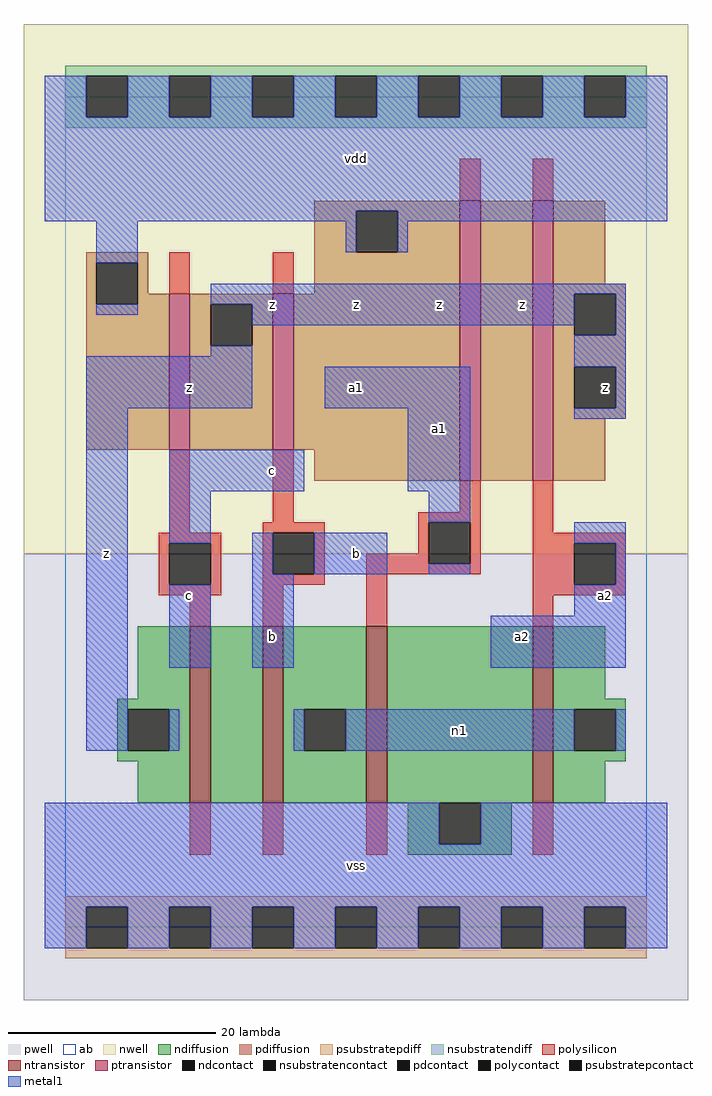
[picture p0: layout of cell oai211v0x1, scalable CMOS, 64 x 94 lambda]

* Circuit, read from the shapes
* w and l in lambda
.subckt oai211v0x1 a1 a2 b c n1 vdd vss z
M1 n2 c z vss nfet w=17 l=2
M2 n1 b n2 vss nfet w=17 l=2
M3 vss a1 n1 vss nfet w=17 l=2
M4 n1 a2 vss vss nfet w=17 l=2
M5 z c vdd vdd pfet w=15 l=2
M6 vdd b z vdd pfet w=15 l=2
M7 n3 a1 vdd vdd pfet w=27 l=2
M8 z a2 n3 vdd pfet w=27 l=2
.ends

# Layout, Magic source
magic
tech scmos
<< ab >>
rect 0 0 56 80
<< pwell >>
rect -4 -7 60 36
<< nwell >>
rect -4 36 60 87
<< polysilicon >>
rect 38 70 40 74
rect 45 70 47 74
rect 10 61 12 65
rect 20 61 22 65
rect 10 38 12 46
rect 20 39 22 46
rect 38 40 40 43
rect 34 39 40 40
rect 19 38 25 39
rect 9 37 15 38
rect 9 33 10 37
rect 14 33 15 37
rect 9 32 15 33
rect 19 34 20 38
rect 24 34 25 38
rect 34 36 35 39
rect 19 33 25 34
rect 29 35 35 36
rect 39 35 40 39
rect 29 34 40 35
rect 45 38 47 43
rect 45 37 54 38
rect 12 29 14 32
rect 19 29 21 33
rect 29 29 31 34
rect 45 33 49 37
rect 53 33 54 37
rect 45 32 54 33
rect 45 29 47 32
rect 12 7 14 12
rect 19 7 21 12
rect 29 7 31 12
rect 45 7 47 12
<< ndiffusion >>
rect 7 22 12 29
rect 5 21 12 22
rect 5 17 6 21
rect 10 17 12 21
rect 5 16 12 17
rect 7 12 12 16
rect 14 12 19 29
rect 21 21 29 29
rect 21 17 23 21
rect 27 17 29 21
rect 21 12 29 17
rect 31 12 45 29
rect 47 22 52 29
rect 47 21 54 22
rect 47 17 49 21
rect 53 17 54 21
rect 47 16 54 17
rect 47 12 52 16
rect 33 8 36 12
rect 40 8 43 12
rect 33 7 43 8
<< pdiffusion >>
rect 24 69 38 70
rect 24 65 28 69
rect 32 65 38 69
rect 2 64 8 65
rect 2 60 3 64
rect 7 61 8 64
rect 24 61 38 65
rect 7 60 10 61
rect 2 46 10 60
rect 12 60 20 61
rect 12 56 14 60
rect 18 56 20 60
rect 12 46 20 56
rect 22 46 38 61
rect 24 43 38 46
rect 40 43 45 70
rect 47 62 52 70
rect 47 61 54 62
rect 47 57 49 61
rect 53 57 54 61
rect 47 54 54 57
rect 47 50 49 54
rect 53 50 54 54
rect 47 49 54 50
rect 47 43 52 49
<< metal1 >>
rect -2 78 2 82
rect 6 78 10 82
rect 14 78 18 82
rect 22 78 26 82
rect 30 78 34 82
rect 38 78 42 82
rect 46 78 50 82
rect 54 78 58 82
rect -2 69 58 78
rect -2 68 28 69
rect 3 64 7 68
rect 27 65 28 68
rect 32 68 58 69
rect 32 65 33 68
rect 3 59 7 60
rect 14 61 54 62
rect 14 60 49 61
rect 18 58 49 60
rect 14 55 18 56
rect 2 50 18 55
rect 53 57 54 61
rect 49 54 54 57
rect 25 50 39 54
rect 2 17 6 50
rect 10 42 23 46
rect 33 42 39 50
rect 53 50 54 54
rect 49 49 54 50
rect 10 37 14 42
rect 35 39 39 42
rect 10 25 14 33
rect 18 34 20 38
rect 24 34 31 38
rect 35 34 39 35
rect 49 37 54 39
rect 18 25 22 34
rect 53 33 54 37
rect 49 30 54 33
rect 41 25 54 30
rect 10 17 11 21
rect 22 17 23 21
rect 27 17 49 21
rect 53 17 54 21
rect -2 8 36 12
rect 40 8 58 12
rect -2 2 58 8
rect -2 -2 2 2
rect 6 -2 10 2
rect 14 -2 18 2
rect 22 -2 26 2
rect 30 -2 34 2
rect 38 -2 42 2
rect 46 -2 50 2
rect 54 -2 58 2
<< ntransistor >>
rect 12 12 14 29
rect 19 12 21 29
rect 29 12 31 29
rect 45 12 47 29
<< ptransistor >>
rect 10 46 12 61
rect 20 46 22 61
rect 38 43 40 70
rect 45 43 47 70
<< polycontact >>
rect 10 33 14 37
rect 20 34 24 38
rect 35 35 39 39
rect 49 33 53 37
<< ndcontact >>
rect 6 17 10 21
rect 23 17 27 21
rect 49 17 53 21
rect 36 8 40 12
<< pdcontact >>
rect 28 65 32 69
rect 3 60 7 64
rect 14 56 18 60
rect 49 57 53 61
rect 49 50 53 54
<< psubstratepcontact >>
rect 2 -2 6 2
rect 10 -2 14 2
rect 18 -2 22 2
rect 26 -2 30 2
rect 34 -2 38 2
rect 42 -2 46 2
rect 50 -2 54 2
<< nsubstratencontact >>
rect 2 78 6 82
rect 10 78 14 82
rect 18 78 22 82
rect 26 78 30 82
rect 34 78 38 82
rect 42 78 46 82
rect 50 78 54 82
<< psubstratepdiff >>
rect 0 2 56 3
rect 0 -2 2 2
rect 6 -2 10 2
rect 14 -2 18 2
rect 22 -2 26 2
rect 30 -2 34 2
rect 38 -2 42 2
rect 46 -2 50 2
rect 54 -2 56 2
rect 0 -3 56 -2
<< nsubstratendiff >>
rect 0 82 56 83
rect 0 78 2 82
rect 6 78 10 82
rect 14 78 18 82
rect 22 78 26 82
rect 30 78 34 82
rect 38 78 42 82
rect 46 78 50 82
rect 54 78 56 82
rect 0 77 56 78
<< labels >>
rlabel metal1 4 36 4 36 6 z
rlabel metal1 12 32 12 32 6 c
rlabel metal1 12 52 12 52 6 z
rlabel metal1 28 6 28 6 6 vss
rlabel metal1 20 28 20 28 6 b
rlabel metal1 20 44 20 44 6 c
rlabel metal1 28 36 28 36 6 b
rlabel metal1 28 52 28 52 6 a1
rlabel metal1 20 60 20 60 6 z
rlabel metal1 28 60 28 60 6 z
rlabel metal1 28 74 28 74 6 vdd
rlabel metal1 44 28 44 28 6 a2
rlabel metal1 36 48 36 48 6 a1
rlabel metal1 36 60 36 60 6 z
rlabel metal1 44 60 44 60 6 z
rlabel metal1 38 19 38 19 6 n1
rlabel metal1 52 32 52 32 6 a2
rlabel pdcontact 52 52 52 52 6 z
<< end >>
